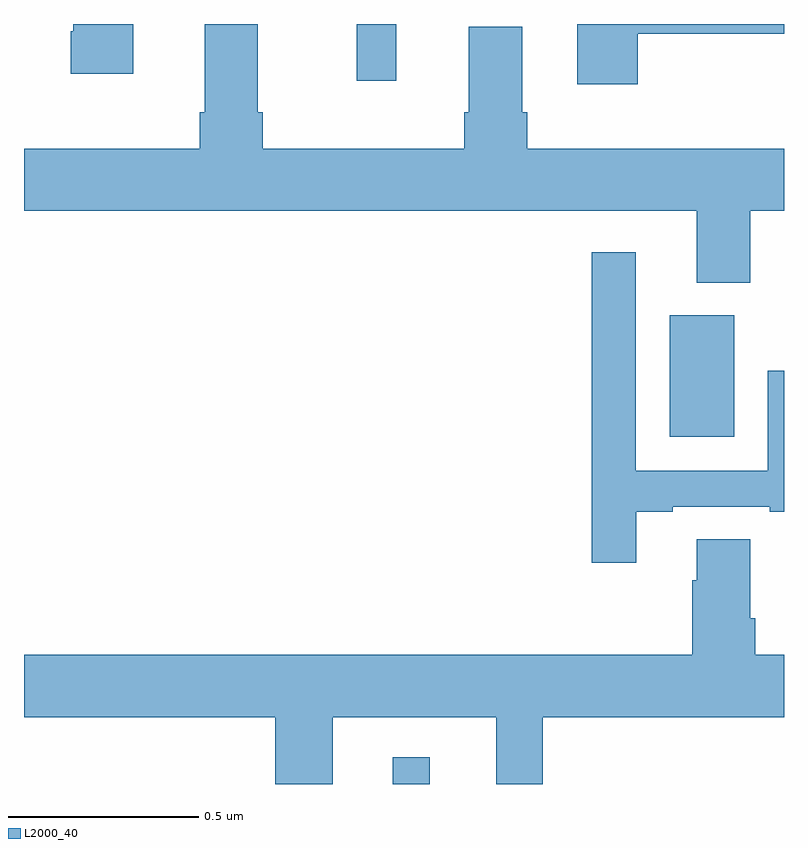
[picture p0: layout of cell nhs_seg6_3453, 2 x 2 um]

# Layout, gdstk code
import gdstk
lib = gdstk.Library(unit=1e-6, precision=1e-09)
def R(c, l, rs):  # rectangles x0, y0, x1, y1
    for r in rs: c.add(gdstk.rectangle(r[:2], r[2:], *l))
def P(c, l, *ps):  # polygons
    for p in ps: c.add(gdstk.Polygon(p, *l))
L2000_40 = (2000, 40)

nhs_seg6_3453 = lib.new_cell('nhs_seg6_3453')
R(nhs_seg6_3453, L2000_40, [(157.97,940.5,158.068,940.57), (158.699,941.414,158.869,941.734), (157.876,942.351,157.979,942.5)])
P(nhs_seg6_3453, L2000_40, [(158.911,942.008),(159,942.008),(159,942.172),(158.324,942.172),(158.324,942.268),(158.311,942.268),(158.311,942.493),(158.171,942.493),(158.171,942.268),(158.159,942.268),(158.159,942.172),(157.628,942.172),(157.628,942.268),(157.615,942.268),(157.615,942.5),(157.475,942.5),(157.475,942.268),(157.463,942.268),(157.463,942.172),(157,942.172),(157,942.008),(158.771,942.008),(158.771,941.819),(158.911,941.819)],
  [(158.615,942.474),(159,942.474),(159,942.5),(158.456,942.5),(158.456,942.342),(158.615,942.342)],
  [(157.288,942.5),(157.13,942.5),(157.13,942.481),(157.123,942.481),(157.123,942.369),(157.288,942.369)],
  [(158.611,941.217),(158.707,941.217),(158.707,941.229),(158.963,941.229),(158.963,941.217),(159,941.217),(159,941.587),(158.957,941.587),(158.957,941.325),(158.61,941.325),(158.61,941.899),(158.494,941.899),(158.494,941.082),(158.611,941.082)],
  [(157.813,940.676),(158.243,940.676),(158.243,940.5),(158.365,940.5),(158.365,940.676),(159,940.676),(159,940.84),(158.924,940.84),(158.924,940.936),(158.911,940.936),(158.911,941.144),(158.771,941.144),(158.771,941.036),(158.759,941.036),(158.759,940.84),(157,940.84),(157,940.676),(157.661,940.676),(157.661,940.5),(157.813,940.5)])

lib.write_gds('nhs_seg6_3453.gds')
